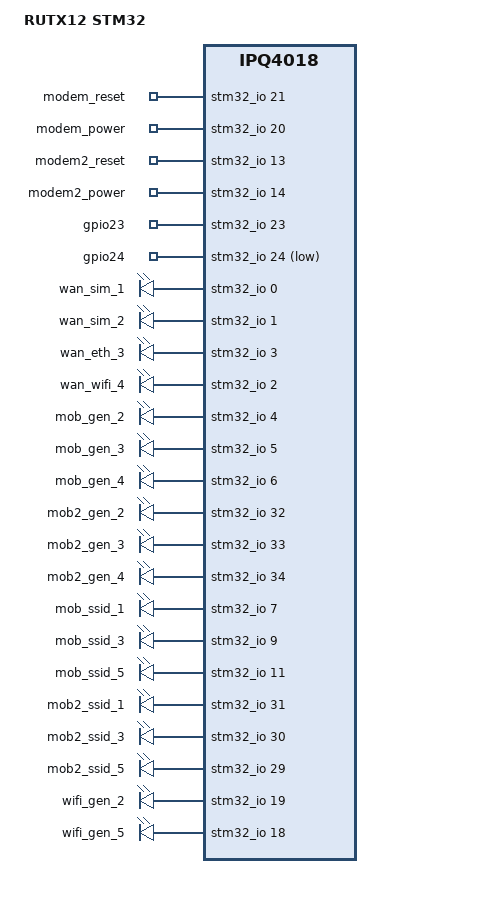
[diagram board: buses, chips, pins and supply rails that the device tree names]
#include "qcom-ipq4018-rutx-stm32.dtsi"

/ {
	model = "RUTX12 STM32";

	soc {
		gpio-export {
			compatible = "gpio-export";
			#size-cells = <0>;

			gpio_modem_reset {
				gpio-export,name = "modem_reset";
				gpio-export,output = <0>;
				gpios = <&stm32_io 21 GPIO_ACTIVE_HIGH>;
			};

			gpio_modem_power {
				gpio-export,name = "modem_power";
				gpio-export,output = <0>;
				gpios = <&stm32_io 20 GPIO_ACTIVE_HIGH>;
			};

			gpio_modem2_reset {
				gpio-export,name = "modem2_reset";
				gpio-export,output = <0>;
				gpios = <&stm32_io 13 GPIO_ACTIVE_HIGH>;
			};

			gpio_modem2_power {
				gpio-export,name = "modem2_power";
				gpio-export,output = <0>;
				gpios = <&stm32_io 14 GPIO_ACTIVE_HIGH>;
			};

			gpio_out_1 {
				gpio-export,name = "gpio23";
				gpio-export,output = <0>;
				gpio-export,direction_may_change;
				gpios = <&stm32_io 23 GPIO_ACTIVE_HIGH>;
			};

			gpio_in_1 {
				gpio-export,name = "gpio24";
				gpio-export,input = <0>;
				gpio-export,direction_may_change;
				gpios = <&stm32_io 24 GPIO_ACTIVE_LOW>;
			};
		};

		leds {
			compatible = "gpio-leds";

			led_wan_sim1 {
				label = "wan_sim_1";
				gpios = <&stm32_io 0 GPIO_ACTIVE_HIGH>;
			};

			led_wan_sim2 {
				label = "wan_sim_2";
				gpios = <&stm32_io 1 GPIO_ACTIVE_HIGH>;
			};

			led_wan_eth {
				label = "wan_eth_3";
				gpios = <&stm32_io 3 GPIO_ACTIVE_HIGH>;
			};

			led_wan_wifi {
				label = "wan_wifi_4";
				gpios = <&stm32_io 2 GPIO_ACTIVE_HIGH>;
			};
			
			led_gen_2 {
				label = "mob_gen_2";
				gpios = <&stm32_io 4 GPIO_ACTIVE_HIGH>;
			};

			led_gen_3 {
				label = "mob_gen_3";
				gpios = <&stm32_io 5 GPIO_ACTIVE_HIGH>;
			};

			led_gen_4 {
				label = "mob_gen_4";
				gpios = <&stm32_io 6 GPIO_ACTIVE_HIGH>;
			};

			led2_gen_2 {
				label = "mob2_gen_2";
				gpios = <&stm32_io 32 GPIO_ACTIVE_HIGH>;
			};

			led2_gen_3 {
				label = "mob2_gen_3";
				gpios = <&stm32_io 33 GPIO_ACTIVE_HIGH>;
			};

			led2_gen_4 {
				label = "mob2_gen_4";
				gpios = <&stm32_io 34 GPIO_ACTIVE_HIGH>;
			};

			led_ssid_1 {
				label = "mob_ssid_1";
				gpios = <&stm32_io 7 GPIO_ACTIVE_HIGH>;
				linux,default-trigger = "timer";
			};

			led_ssid_3 {
				label = "mob_ssid_3";
				gpios = <&stm32_io 9 GPIO_ACTIVE_HIGH>;
				linux,default-trigger = "timer";
			};

			led_ssid_5 {
				label = "mob_ssid_5";
				gpios = <&stm32_io 11 GPIO_ACTIVE_HIGH>;
				linux,default-trigger = "timer";
			};

			led2_ssid_1 {
				label = "mob2_ssid_1";
				gpios = <&stm32_io 31 GPIO_ACTIVE_HIGH>;
				linux,default-trigger = "timer";
			};

			led2_ssid_3 {
				label = "mob2_ssid_3";
				gpios = <&stm32_io 30 GPIO_ACTIVE_HIGH>;
				linux,default-trigger = "timer";
			};

			led2_ssid_5 {
				label = "mob2_ssid_5";
				gpios = <&stm32_io 29 GPIO_ACTIVE_HIGH>;
				linux,default-trigger = "timer";
			};

			led_wifi_24 {
				label = "wifi_gen_2";
				gpios = <&stm32_io 19 GPIO_ACTIVE_HIGH>;
			};

			led_wifi_50 {
				label = "wifi_gen_5";
				gpios = <&stm32_io 18 GPIO_ACTIVE_HIGH>;
			};
		};
	};
};
